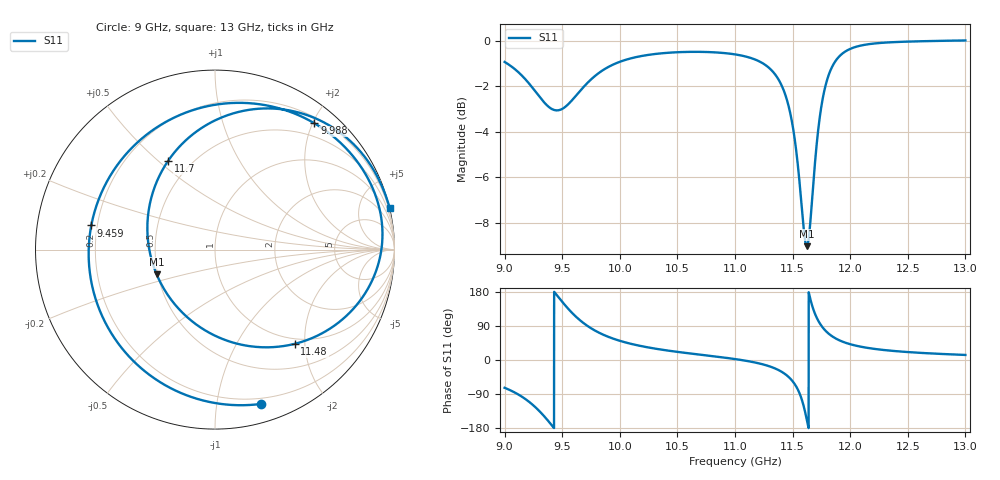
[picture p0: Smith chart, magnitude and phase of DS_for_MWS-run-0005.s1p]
! TOUCHSTONE file generated by CST DESIGN STUDIO
! Date and time: Tue Feb  4 18:15:34 2025
! Project name: C:\Work\MatlabApps\UnitCellOptimizationMatlab\CST\unitcell.cst
! Tree item: Tasks\Sweep1\SPara1\S-Parameters
! Header version: 2024
! Port assignment regex: !\s*Touchstone port\s*([0-9]+)\s*=\s*(CST MWS port|CST DES external port|CST DES block port)\s*(.+)\s* \(\"(.*)\"\)(\s*mode\s*([0-9]+))?.*
! Touchstone port assignment:
! Touchstone port 1 = CST DES external port 1 ("")
# GHz S MA R 50
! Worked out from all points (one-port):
!   4001 points, 9 GHz to 13 GHz, reference 50 ohm
!   lowest |S11| = -9.0 dB at 11.62 GHz (marker M1), VSWR 2.09, Z = 24.6 - j7.74 ohm
!   |S11| at or under -10 dB: nowhere
!   S11 on the Smith chart (normalised r, x): 9 GHz: 0.15, -1.33; 9.459 GHz: 0.18, +0.09; 9.988 GHz: 0.29, +2.03; 11.48 GHz: 0.90, -1.80; 11.7 GHz: 0.37, +0.54; 13 GHz: -0.01, +8.55
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9  0.8973 -73.4
9.136  0.8443 -94.1
9.241  0.788 -117.5
9.363  0.7224 -155.2
9.459  0.7023 168.9
9.5  0.7075 153.5
9.596  0.7445 121.1
9.694  0.7947 95.4
9.837  0.8553 69.5
9.988  0.8956 51.8
10  0.898 50.7
10.214  0.9271 35.0
10.5  0.9425 21.4
11  0.9323 2.5
11.315  0.8616 -18.4
11.408  0.7934 -31.6
11.482  0.6879 -49.7
11.5  0.6508 -56.0
11.565  0.4736 -91.5
11.623  0.3532 -157.1
11.66  0.4166 153.8
11.7  0.5593 117.8
11.744  0.7014 93.0
11.796  0.8139 74.2
11.886  0.9112 54.9
12  0.9585 41.7
12.5  0.9946 20.9
13  1 13.3
